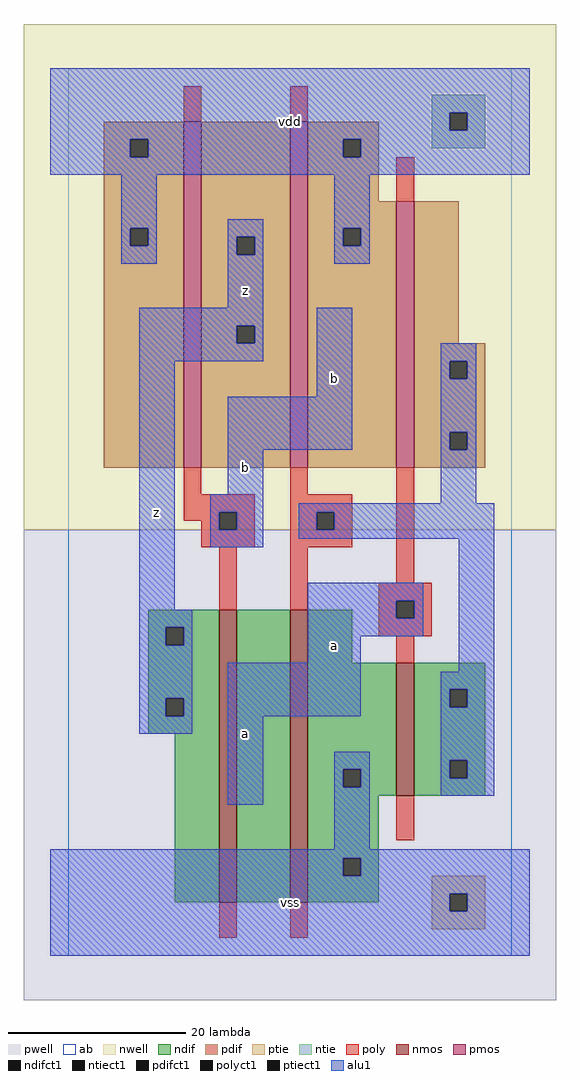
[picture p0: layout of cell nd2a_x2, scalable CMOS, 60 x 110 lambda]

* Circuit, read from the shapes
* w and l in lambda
.subckt nd2a_x2 a b vdd vss z
M1 n1 b z vss nfet w=33 l=2
M2 vss n2 n1 vss nfet w=33 l=2
M3 n2 a vss vss nfet w=15 l=2
M4 z b vdd vdd pfet w=39 l=2
M5 vdd n2 z vdd pfet w=39 l=2
M6 n2 a vdd vdd pfet w=30 l=2
.ends

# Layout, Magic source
magic
tech scmos
<< ab >>
rect 0 0 50 100
<< nwell >>
rect -5 48 55 105
<< pwell >>
rect -5 -5 55 48
<< poly >>
rect 13 94 15 98
rect 25 94 27 98
rect 37 85 39 90
rect 13 52 15 55
rect 25 52 27 55
rect 13 50 21 52
rect 13 49 17 50
rect 15 48 17 49
rect 19 48 21 50
rect 15 46 21 48
rect 25 50 32 52
rect 25 48 28 50
rect 30 48 32 50
rect 25 46 32 48
rect 17 39 19 46
rect 25 39 27 46
rect 37 42 39 55
rect 35 40 41 42
rect 35 38 37 40
rect 39 38 41 40
rect 35 36 41 38
rect 37 33 39 36
rect 37 13 39 18
rect 17 2 19 6
rect 25 2 27 6
<< ndif >>
rect 9 37 17 39
rect 9 35 11 37
rect 13 35 17 37
rect 9 29 17 35
rect 9 27 11 29
rect 13 27 17 29
rect 9 25 17 27
rect 12 6 17 25
rect 19 6 25 39
rect 27 33 32 39
rect 27 21 37 33
rect 27 19 31 21
rect 33 19 37 21
rect 27 18 37 19
rect 39 30 47 33
rect 39 28 43 30
rect 45 28 47 30
rect 39 22 47 28
rect 39 20 43 22
rect 45 20 47 22
rect 39 18 47 20
rect 27 11 35 18
rect 27 9 31 11
rect 33 9 35 11
rect 27 6 35 9
<< pdif >>
rect 4 92 13 94
rect 4 90 7 92
rect 9 90 13 92
rect 4 82 13 90
rect 4 80 7 82
rect 9 80 13 82
rect 4 55 13 80
rect 15 81 25 94
rect 15 79 19 81
rect 21 79 25 81
rect 15 71 25 79
rect 15 69 19 71
rect 21 69 25 71
rect 15 55 25 69
rect 27 92 35 94
rect 27 90 31 92
rect 33 90 35 92
rect 27 85 35 90
rect 27 82 37 85
rect 27 80 31 82
rect 33 80 37 82
rect 27 55 37 80
rect 39 69 44 85
rect 39 67 47 69
rect 39 65 43 67
rect 45 65 47 67
rect 39 59 47 65
rect 39 57 43 59
rect 45 57 47 59
rect 39 55 47 57
<< alu1 >>
rect -2 95 52 100
rect -2 93 43 95
rect 45 93 52 95
rect -2 92 52 93
rect -2 90 7 92
rect 9 90 31 92
rect 33 90 52 92
rect -2 88 52 90
rect 6 82 10 88
rect 6 80 7 82
rect 9 80 10 82
rect 6 78 10 80
rect 18 81 22 83
rect 18 79 19 81
rect 21 79 22 81
rect 18 73 22 79
rect 30 82 34 88
rect 30 80 31 82
rect 33 80 34 82
rect 30 78 34 80
rect 8 71 22 73
rect 8 69 19 71
rect 21 69 22 71
rect 8 67 22 69
rect 8 39 12 67
rect 28 63 32 73
rect 18 57 32 63
rect 42 67 46 69
rect 42 65 43 67
rect 45 65 46 67
rect 42 59 46 65
rect 42 57 43 59
rect 45 57 46 59
rect 18 52 22 57
rect 16 50 22 52
rect 42 51 46 57
rect 16 48 17 50
rect 19 48 22 50
rect 16 46 22 48
rect 26 50 48 51
rect 26 48 28 50
rect 30 48 48 50
rect 26 47 48 48
rect 27 40 40 42
rect 8 37 14 39
rect 8 35 11 37
rect 13 35 14 37
rect 8 29 14 35
rect 27 38 37 40
rect 39 38 40 40
rect 27 36 40 38
rect 27 33 33 36
rect 8 27 11 29
rect 13 27 14 29
rect 8 25 14 27
rect 18 27 33 33
rect 44 32 48 47
rect 42 30 48 32
rect 42 28 43 30
rect 45 28 48 30
rect 18 17 22 27
rect 30 21 34 23
rect 30 19 31 21
rect 33 19 34 21
rect 30 12 34 19
rect 42 22 48 28
rect 42 20 43 22
rect 45 20 48 22
rect 42 18 48 20
rect -2 11 52 12
rect -2 9 31 11
rect 33 9 52 11
rect -2 7 52 9
rect -2 5 43 7
rect 45 5 52 7
rect -2 0 52 5
<< ptie >>
rect 41 7 47 9
rect 41 5 43 7
rect 45 5 47 7
rect 41 3 47 5
<< ntie >>
rect 41 95 47 97
rect 41 93 43 95
rect 45 93 47 95
rect 41 91 47 93
<< nmos >>
rect 17 6 19 39
rect 25 6 27 39
rect 37 18 39 33
<< pmos >>
rect 13 55 15 94
rect 25 55 27 94
rect 37 55 39 85
<< polyct1 >>
rect 17 48 19 50
rect 28 48 30 50
rect 37 38 39 40
<< ndifct1 >>
rect 11 35 13 37
rect 11 27 13 29
rect 31 19 33 21
rect 43 28 45 30
rect 43 20 45 22
rect 31 9 33 11
<< ntiect1 >>
rect 43 93 45 95
<< ptiect1 >>
rect 43 5 45 7
<< pdifct1 >>
rect 7 90 9 92
rect 7 80 9 82
rect 19 79 21 81
rect 19 69 21 71
rect 31 90 33 92
rect 31 80 33 82
rect 43 65 45 67
rect 43 57 45 59
<< labels >>
rlabel alu1 20 25 20 25 6 a
rlabel alu1 10 50 10 50 6 z
rlabel alu1 20 55 20 55 6 b
rlabel alu1 20 75 20 75 6 z
rlabel alu1 25 6 25 6 6 vss
rlabel alu1 30 35 30 35 6 a
rlabel alu1 30 65 30 65 6 b
rlabel alu1 25 94 25 94 6 vdd
<< end >>
